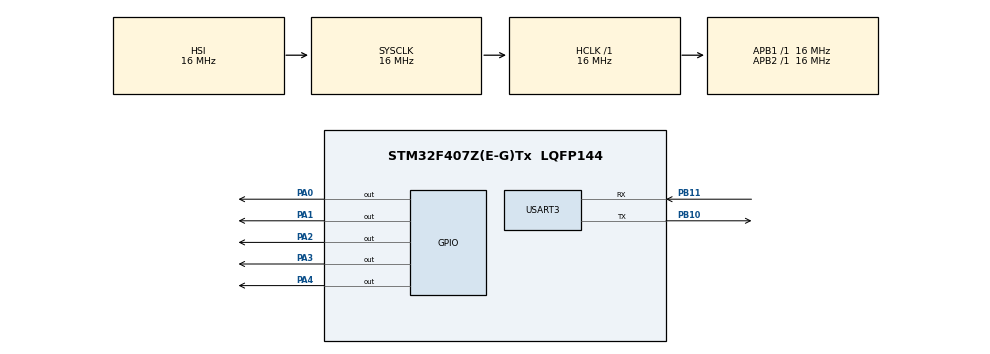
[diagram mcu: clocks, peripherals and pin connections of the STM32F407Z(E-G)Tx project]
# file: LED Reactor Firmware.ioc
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Mcu.Family=STM32F4
Mcu.Name=STM32F407Z(E-G)Tx
Mcu.Package=LQFP144
NVIC.PriorityGroup=NVIC_PRIORITYGROUP_4
PA0-WKUP.Signal=GPIO_Output
PA1.Signal=GPIO_Output
PA13.Mode=JTAG_4_pins
PA13.Signal=SYS_JTMS-SWDIO
PA14.Mode=JTAG_4_pins
PA14.Signal=SYS_JTCK-SWCLK
PA15.Mode=JTAG_4_pins
PA15.Signal=SYS_JTDI
PA2.Signal=GPIO_Output
PA3.Signal=GPIO_Output
PA4.Signal=GPIO_Output
PB10.Mode=Asynchronous
PB10.Signal=USART3_TX
PB11.Mode=Asynchronous
PB11.Signal=USART3_RX
PB3.Mode=JTAG_4_pins
PB3.Signal=SYS_JTDO-SWO
ProjectManager.HeapSize=0x200
ProjectManager.StackSize=0x400
ProjectManager.TargetToolchain=STM32CubeIDE
RCC.AHBFreq_Value=16000000
RCC.APB1Freq_Value=16000000
RCC.APB2Freq_Value=16000000
RCC.CortexFreq_Value=16000000
RCC.HSE_VALUE=25000000
RCC.HSI_VALUE=16000000
RCC.LSE_VALUE=32768
RCC.SYSCLKFreq_VALUE=16000000
RCC.VCOOutputFreq_Value=192000000
USART3.VirtualMode=VM_ASYNC
board=custom

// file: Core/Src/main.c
/* USER CODE BEGIN Header */
/**
  ******************************************************************************
  * @file           : main.c
  * @brief          : Main program body
  ******************************************************************************
  * @attention
  *
  * <h2><center>&copy; Copyright (c) 2021 STMicroelectronics.
  * All rights reserved.</center></h2>
  *
  * This software component is licensed by ST under BSD 3-Clause license,
  * the "License"; You may not use this file except in compliance with the
  * License. You may obtain a copy of the License at:
  *                        opensource.org/licenses/BSD-3-Clause
  *
  ******************************************************************************
  */
/* USER CODE END Header */
#include "main.h"

/* USER CODE BEGIN Includes */
#include "LEDs.h"
#include <string.h>

/* USER CODE END Includes */

/* USER CODE BEGIN PTD */
void InitLEDS_function(void);
void StartTheSystem(void);

/* USER CODE END PTD */

UART_HandleTypeDef huart3;

void SystemClock_Config(void);
static void MX_GPIO_Init(void);
static void MX_USART3_UART_Init(void);

int main(void)
{

  /* MCU Configuration--------------------------------------------------------*/

  /* Reset of all peripherals, Initializes the Flash interface and the Systick. */
  HAL_Init();

  /* Configure the system clock */
  SystemClock_Config();

  /* Initialize all configured peripherals */
  MX_GPIO_Init();
  MX_USART3_UART_Init();
  /* USER CODE BEGIN 2 */
	char terminateBuffer[5] = "";
	HAL_UART_Transmit(&huart3, "Successfully Connected\n\r", strlen("Successfully Connected\n\r"), HAL_MAX_DELAY);
	InitLEDS_function();

  /* USER CODE END 2 */

  /* Infinite loop */
  /* USER CODE BEGIN WHILE */
  while (1)
  {
	  HAL_UART_Transmit(&huart3, "going to start system\n\r", strlen("going to start system\n\r"), HAL_MAX_DELAY);
	  StartTheSystem();
	  HAL_UART_Transmit(&huart3, "waiting for Stop Command\n\r", strlen("waiting for Stop Command\n\r"), HAL_MAX_DELAY);
	  HAL_UART_Receive(&huart3, terminateBuffer, strlen("stop"), HAL_MAX_DELAY);
	  HAL_UART_Transmit(&huart3, "Stop Command Recieved\n\r", strlen("Stop Command Recieved\n\r"), HAL_MAX_DELAY);
	  LEDs_TurnOffAll();
	  HAL_UART_Transmit(&huart3, "LEDs Turned Off\n\r", strlen("LEDs Turned Off\n\r"), HAL_MAX_DELAY);

    /* USER CODE END WHILE */

  }
}

void SystemClock_Config(void)
{
  RCC_OscInitTypeDef RCC_OscInitStruct = {0};
  RCC_ClkInitTypeDef RCC_ClkInitStruct = {0};

  /** Configure the main internal regulator output voltage
  */
  __HAL_RCC_PWR_CLK_ENABLE();
  __HAL_PWR_VOLTAGESCALING_CONFIG(PWR_REGULATOR_VOLTAGE_SCALE1);
  /** Initializes the RCC Oscillators according to the specified parameters
  * in the RCC_OscInitTypeDef structure.
  */
  RCC_OscInitStruct.OscillatorType = RCC_OSCILLATORTYPE_HSI;
  RCC_OscInitStruct.HSIState = RCC_HSI_ON;
  RCC_OscInitStruct.HSICalibrationValue = RCC_HSICALIBRATION_DEFAULT;
  RCC_OscInitStruct.PLL.PLLState = RCC_PLL_NONE;
  if (HAL_RCC_OscConfig(&RCC_OscInitStruct) != HAL_OK)
  {
    Error_Handler();
  }
  /** Initializes the CPU, AHB and APB buses clocks
  */
  RCC_ClkInitStruct.ClockType = RCC_CLOCKTYPE_HCLK|RCC_CLOCKTYPE_SYSCLK
                              |RCC_CLOCKTYPE_PCLK1|RCC_CLOCKTYPE_PCLK2;
  RCC_ClkInitStruct.SYSCLKSource = RCC_SYSCLKSOURCE_HSI;
  RCC_ClkInitStruct.AHBCLKDivider = RCC_SYSCLK_DIV1;
  RCC_ClkInitStruct.APB1CLKDivider = RCC_HCLK_DIV1;
  RCC_ClkInitStruct.APB2CLKDivider = RCC_HCLK_DIV1;

  if (HAL_RCC_ClockConfig(&RCC_ClkInitStruct, FLASH_LATENCY_0) != HAL_OK)
  {
    Error_Handler();
  }
}

static void MX_USART3_UART_Init(void)
{

  huart3.Instance = USART3;
  huart3.Init.BaudRate = 115200;
  huart3.Init.WordLength = UART_WORDLENGTH_8B;
  huart3.Init.StopBits = UART_STOPBITS_1;
  huart3.Init.Parity = UART_PARITY_NONE;
  huart3.Init.Mode = UART_MODE_TX_RX;
  huart3.Init.HwFlowCtl = UART_HWCONTROL_NONE;
  huart3.Init.OverSampling = UART_OVERSAMPLING_16;
  if (HAL_UART_Init(&huart3) != HAL_OK)
  {
    Error_Handler();
  }

}

static void MX_GPIO_Init(void)
{
  GPIO_InitTypeDef GPIO_InitStruct = {0};

  /* GPIO Ports Clock Enable */
  __HAL_RCC_GPIOA_CLK_ENABLE();
  __HAL_RCC_GPIOB_CLK_ENABLE();

  /*Configure GPIO pin Output Level */
  HAL_GPIO_WritePin(GPIOA, GPIO_PIN_0|GPIO_PIN_1|GPIO_PIN_2|GPIO_PIN_3
                          |GPIO_PIN_4, GPIO_PIN_RESET);

  /*Configure GPIO pins : PA0 PA1 PA2 PA3
                           PA4 */
  GPIO_InitStruct.Pin = GPIO_PIN_0|GPIO_PIN_1|GPIO_PIN_2|GPIO_PIN_3
                          |GPIO_PIN_4;
  GPIO_InitStruct.Mode = GPIO_MODE_OUTPUT_PP;
  GPIO_InitStruct.Pull = GPIO_NOPULL;
  GPIO_InitStruct.Speed = GPIO_SPEED_FREQ_LOW;
  HAL_GPIO_Init(GPIOA, &GPIO_InitStruct);

}

/* USER CODE BEGIN 4 */

void InitLEDS_function(void){

	LEDsConf_TypeDef LEDs_init;

	LEDs_init.RedLED_Port = GPIOA;
	LEDs_init.GreenLED_Port = GPIOA;
	LEDs_init.BlueLED_Port = GPIOA;
	LEDs_init.OrangeLED_Port = GPIOA;
	LEDs_init.WhiteLED_Port = GPIOA;

	LEDs_init.RedLED_Pin = GPIO_PIN_0;
	LEDs_init.GreenLED_Pin = GPIO_PIN_1;
	LEDs_init.BlueLED_Pin = GPIO_PIN_2;
	LEDs_init.OrangeLED_Pin = GPIO_PIN_3;
	LEDs_init.WhiteLED_Pin = GPIO_PIN_4;
	LEDs_ConfigLEDs(&LEDs_init);
	HAL_UART_Transmit(&huart3, "LEDs are all set!\n\r", strlen("LEDs are all set!\n\r"), HAL_MAX_DELAY);
}

void StartTheSystem(void){
	char buffer[10] = "";
	char colorBuffer[1] = "";
	char intensityBuffer[3] = "";
	uint8_t color;
	uint8_t intensity;

	// Recieve the instruction for Start from Python
	while (strcmp(buffer, "start")){
	  HAL_UART_Receive(&huart3, buffer, strlen("start"), HAL_MAX_DELAY);
	}

	HAL_UART_Transmit(&huart3, "Start command is Recieved\n\r", strlen("Start command is Recieved\n\r"), HAL_MAX_DELAY);

	// Recieve the color. color is an integer with the following correspondance:
	// 1->R, 2->G, 3->B, 4->O, 5->W
	HAL_UART_Receive(&huart3, colorBuffer, strlen("1"), HAL_MAX_DELAY);
	HAL_UART_Transmit(&huart3, "color is just recieved\n\r", strlen("color is just recieved\n\r"), HAL_MAX_DELAY);
	color =  atoi(colorBuffer);

	// Recieve the Intensity of the LEDs. This is also a 8 bit number
	HAL_UART_Receive(&huart3, intensityBuffer, strlen("111"), HAL_MAX_DELAY);
	HAL_UART_Transmit(&huart3, "intensity is just recieved\n\r", strlen("intensity is just recieved\n\r"), HAL_MAX_DELAY);
	intensity = atoi(intensityBuffer);

	// adjust the intensity by changing the pwm ratio
	//turn the LED on
	LEDs_TurnOnLED(color);
	HAL_UART_Transmit(&huart3, "LEDs Turned ON!\n\r", strlen("LEDs Turned ON!\n\r"), HAL_MAX_DELAY);

}

/* USER CODE END 4 */

void Error_Handler(void)
{
  __disable_irq();
  while (1)
  {
  }
}

/************************ (C) COPYRIGHT STMicroelectronics *****END OF FILE****/
